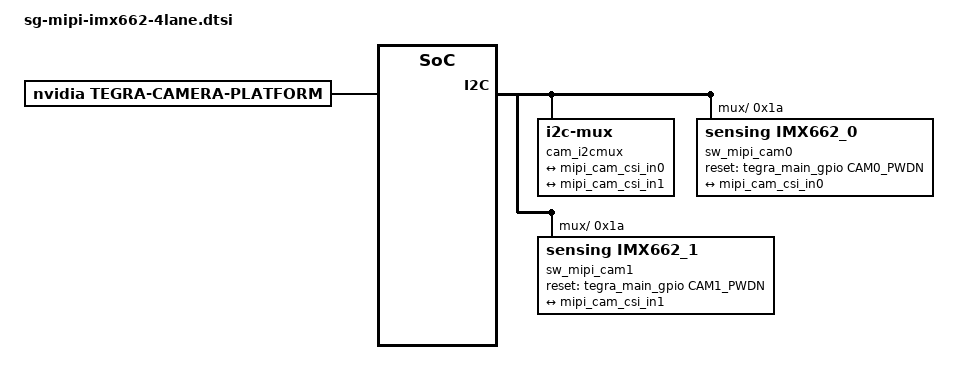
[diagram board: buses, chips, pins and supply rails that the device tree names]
/*
 * Copyright (c) 2022-2023, NVIDIA CORPORATION.  All rights reserved.
 *
 * This program is free software; you can redistribute it and/or modify
 * it under the terms of the GNU General Public License as published by
 * the Free Software Foundation; either version 2 of the License, or
 * (at your option) any later version.
 *
 * This program is distributed in the hope that it will be useful, but WITHOUT
 * ANY WARRANTY; without even the implied warranty of MERCHANTABILITY or
 * FITNESS FOR A PARTICULAR PURPOSE.  See the GNU General Public License for
 * more details.
 *
 * You should have received a copy of the GNU General Public License
 * along with this program.  If not, see <http://www.gnu.org/licenses/>.
 */
#define CAM0_PWDN	TEGRA234_MAIN_GPIO(H, 6)
#define CAM1_PWDN	TEGRA234_MAIN_GPIO(AC, 0)
#define CAM_I2C_MUX 	TEGRA234_AON_GPIO(CC, 3)

/ {
	tegra-capture-vi  {
		num-channels = <2>;
		ports {
			#address-cells = <1>;
			#size-cells = <0>;
			port@0 {
				reg = <0>;
				mipi_cam_vi_in0: endpoint {
					port-index = <0>;
					bus-width = <4>;
					remote-endpoint = <&mipi_cam_csi_out0>;
				};
			};
			port@1 {
				reg = <1>;
				mipi_cam_vi_in1: endpoint {
					port-index = <2>;
					bus-width = <4>;
					remote-endpoint = <&mipi_cam_csi_out1>;
				};
			};
		};
	};

	bus@0 {
		host1x@13e00000 {
			nvcsi@15a00000 {
				num-channels = <2>;
				#address-cells = <1>;
				#size-cells = <0>;
				channel@0 {
					reg = <0>;
					ports {
						#address-cells = <1>;
						#size-cells = <0>;
						port@0 {
							reg = <0>;
							mipi_cam_csi_in0: endpoint@0 {
								port-index = <0>;
								bus-width = <4>;
								remote-endpoint = <&mipi_cam_out0>;
							};
						};
						port@1 {
							reg = <1>;
							mipi_cam_csi_out0: endpoint@1 {
								remote-endpoint = <&mipi_cam_vi_in0>;
							};
						};
					};
				};
				channel@1 {
					reg = <1>;
					ports {
						#address-cells = <1>;
						#size-cells = <0>;
						port@0 {
							reg = <0>;
							mipi_cam_csi_in1: endpoint@2 {
								port-index = <2>;
								bus-width = <4>;
								remote-endpoint = <&mipi_cam_out1>;
							};
						};
						port@1 {
							reg = <1>;
							mipi_cam_csi_out1: endpoint@3 {
								remote-endpoint = <&mipi_cam_vi_in1>;
							};
						};
					};
				};
			};
		};

		cam_i2cmux {
			i2c@0 {
				sw_mipi_cam0: cam_0@1a {
					compatible = "sensing,imx662_0";
					/* I2C device address */
					reg = <0x1a>;

					/* V4L2 device node location */
					devnode = "video0";

					/* Physical dimensions of sensor */
					physical_w = "3.680";
					physical_h = "2.760";

					sensor_model = "imx662";				

					/* Defines number of frames to be dropped by driver internally after applying */
					/* sensor crop settings. Some sensors send corrupt frames after applying */
					/* crop co-ordinates */
					post_crop_frame_drop = "0";

					/* Convert Gain to unit of dB (decibel) befor passing to kernel driver */
					use_decibel_gain = "true";

					/* if true, delay gain setting by one frame to be in sync with exposure */
					delayed_gain = "true";

					/* enable CID_SENSOR_MODE_ID for sensor modes selection */

					use_sensor_mode_id = "true";

					reset-gpios = <&tegra_main_gpio CAM0_PWDN GPIO_ACTIVE_HIGH>;

					/**
					* ==== Modes ====
					*/
					mode0 { /*  */
						mclk_khz = "24000";
						num_lanes = "4";
						tegra_sinterface = "serial_a";
						phy_mode = "DPHY";
						discontinuous_clk = "no";
						dpcm_enable = "false";
						cil_settletime = "0";
						lane_polarity = "0";

						active_w = "1936";
						active_h = "1096";
						mode_type = "bayer";
						pixel_phase = "rggb";
						csi_pixel_bit_depth = "12";
						dynamic_pixel_bit_depth = "12";
						readout_orientation = "0";
						line_length = "1936";
						inherent_gain = "1";
						mclk_multiplier = "8.2";//600000 Khz / 25 =24000 Khz
						pix_clk_hz = "198000000";

						gain_factor = "1000";
						min_gain_val = "1"; 		/* 0 dB */
						max_gain_val = "72000"; 		/* 72 dB */
						step_gain_val = "300"; 		/* 0.3 */
						default_gain = "1";
						min_hdr_ratio = "1";
						max_hdr_ratio = "1";
						framerate_factor = "1000000";
						min_framerate = "60000000";
						max_framerate = "60000000";
						step_framerate = "1";
						default_framerate = "60000000";
						exposure_factor = "1000000";
						min_exp_time = "54"; 		/*us, VMAX - (max number of lines per frame - 1)*/
						max_exp_time = "14600";		/*us, VMAX - 4 lines*/
						step_exp_time = "1";
						default_exp_time = "14600";	/* us */
						embedded_metadata_height = "1";
					};

					ports {
						#address-cells = <1>;
						#size-cells = <0>;

						port@0 {
							reg = <0>;
							mipi_cam_out0: endpoint {
								port-index = <0>;
								bus-width = <4>;
								remote-endpoint = <&mipi_cam_csi_in0>;
							};
						};
					};
				};
			};
			i2c@1 {
				sw_mipi_cam1: cam_1@1a {
					compatible = "sensing,imx662_1";
					/* I2C device address */
					reg = <0x1a>;

					/* V4L2 device node location */
					devnode = "video1";

					/* Physical dimensions of sensor */
					physical_w = "3.680";
					physical_h = "2.760";

					sensor_model = "imx662";				

					/* Defines number of frames to be dropped by driver internally after applying */
					/* sensor crop settings. Some sensors send corrupt frames after applying */
					/* crop co-ordinates */
					post_crop_frame_drop = "0";

					/* Convert Gain to unit of dB (decibel) befor passing to kernel driver */
					use_decibel_gain = "true";

					/* if true, delay gain setting by one frame to be in sync with exposure */
					delayed_gain = "true";

					/* enable CID_SENSOR_MODE_ID for sensor modes selection */

					use_sensor_mode_id = "true";

					reset-gpios = <&tegra_main_gpio CAM1_PWDN GPIO_ACTIVE_HIGH>;

					mode0 { /* sensor_mode_1936x1100_4lane_raw12_linear_30fps */
						mclk_khz = "24000";
						num_lanes = "4";
						tegra_sinterface = "serial_c";
						phy_mode = "DPHY";
						discontinuous_clk = "no";
						dpcm_enable = "false";
						cil_settletime = "0";
						lane_polarity = "0";

						active_w = "1936";
						active_h = "1096";
						mode_type = "bayer";
						pixel_phase = "rggb";
						csi_pixel_bit_depth = "12";
						dynamic_pixel_bit_depth = "12";
						readout_orientation = "0";
						line_length = "1936";
						inherent_gain = "1";
						mclk_multiplier = "8.2";
						pix_clk_hz = "198000000";

						gain_factor = "1000";
						min_gain_val = "1"; 		/* 0 dB */
						max_gain_val = "72000"; 		/* 72 dB */
						step_gain_val = "300"; 		/* 0.3 */
						default_gain = "1";
						min_hdr_ratio = "1";
						max_hdr_ratio = "1";
						framerate_factor = "1000000";
						min_framerate = "30000000";
						max_framerate = "30000000";
						step_framerate = "1";
						default_framerate = "30000000";
						exposure_factor = "1000000";
						min_exp_time = "27"; 		/*us, VMAX - (max number of lines per frame - 1)*/
						max_exp_time = "30000";		/*us, VMAX - 4 lines*/
						step_exp_time = "1";
						default_exp_time = "30000";	/* us */
						embedded_metadata_height = "1";
					};

					mode1 { /* sensor_mode_968x550_4lane_raw12_linear_30fps */
						mclk_khz = "24000";
						num_lanes = "4";
						tegra_sinterface = "serial_c";
						phy_mode = "DPHY";
						discontinuous_clk = "no";
						dpcm_enable = "false";
						cil_settletime = "0";
						lane_polarity = "0";

						active_w = "968";
						active_h = "550";
						mode_type = "bayer";
						pixel_phase = "rggb";
						csi_pixel_bit_depth = "12";
						dynamic_pixel_bit_depth = "12";
						readout_orientation = "0";
						line_length = "968";
						inherent_gain = "1";
						mclk_multiplier = "8.2";
						pix_clk_hz = "198000000";

						gain_factor = "1000";
						min_gain_val = "1"; 		/* 0 dB */
						max_gain_val = "72000"; 		/* 72 dB */
						step_gain_val = "300"; 		/* 0.3 */
						default_gain = "1";
						min_hdr_ratio = "1";
						max_hdr_ratio = "1";
						framerate_factor = "1000000";
						min_framerate = "30000000";
						max_framerate = "30000000";
						step_framerate = "1";
						default_framerate = "30000000";
						exposure_factor = "1000000";
						min_exp_time = "27"; 		/*us, VMAX - (max number of lines per frame - 1)*/
						max_exp_time = "30000";		/*us, VMAX - 4 lines*/
						step_exp_time = "1";
						default_exp_time = "30000";	/* us */
						embedded_metadata_height = "1";
					};

					mode2 { /* sensor_mode_1920x1080_4lane_raw10_dol2_30fps */
						mclk_khz = "24000";
						num_lanes = "4";
						tegra_sinterface = "serial_c";
						phy_mode = "DPHY";
						discontinuous_clk = "yes";
						dpcm_enable = "false";
						cil_settletime = "0";
						lane_polarity = "0";

						active_w = "1952";
						active_h = "2364";
						mode_type = "bayer_wdr_dol";
						pixel_phase = "rggb";
						csi_pixel_bit_depth = "10";
						dynamic_pixel_bit_depth = "10";
						readout_orientation = "0";
						line_length = "2616";
						inherent_gain = "1";
						mclk_multiplier = "25";
						pix_clk_hz = "288000000";

						gain_factor = "1000";
						min_gain_val = "1"; 		/* 0 dB */
						max_gain_val = "72000"; 	/* dB */
						step_gain_val = "300"; 		/* 0.3 */
						default_gain = "1";
						min_hdr_ratio = "32";
						max_hdr_ratio = "32";
						framerate_factor = "1000000";
						min_framerate = "30000000";
						max_framerate = "30000000";
						step_framerate = "1";
						default_framerate = "30000000";
						exposure_factor = "1000000";
						min_exp_time = "18"; 		/*us, 2 lines */
						max_exp_time = "30000";		/*us, VMAX * 2 - 14 lines*/
						step_exp_time = "1";
						default_exp_time = "30000";/* us */
						embedded_metadata_height = "1";

						// /* WDR related settings */
						num_of_exposure = "2";
						num_of_ignored_lines = "24"; 
						num_of_lines_offset_0 = "78";
						num_of_ignored_pixels = "16";
						num_of_left_margin_pixels = "8";
						num_of_right_margin_pixels = "8";
					};

					mode3 { /* sensor_mode_1936x1100_4lane_raw12_linear_60fps */
						mclk_khz = "24000";
						num_lanes = "4";
						tegra_sinterface = "serial_c";
						phy_mode = "DPHY";
						discontinuous_clk = "no";
						dpcm_enable = "false";
						cil_settletime = "0";
						lane_polarity = "0";

						active_w = "1936";
						active_h = "1096";		//1096
						mode_type = "bayer";
						pixel_phase = "rggb";
						csi_pixel_bit_depth = "12";
						dynamic_pixel_bit_depth = "12";
						readout_orientation = "0";
						line_length = "1936";
						inherent_gain = "1";
						mclk_multiplier = "8.2";
						pix_clk_hz = "198000000";

						gain_factor = "1000";
						min_gain_val = "1"; 		/* 0 dB */
						max_gain_val = "72000"; 		/* 72 dB */
						step_gain_val = "300"; 		/* 0.3 */
						default_gain = "1";
						min_hdr_ratio = "1";
						max_hdr_ratio = "1";
						framerate_factor = "1000000";
						min_framerate = "60000000";
						max_framerate = "60000000";
						step_framerate = "1";
						default_framerate = "60000000";
						exposure_factor = "1000000";
						min_exp_time = "14"; 		/*us, VMAX - (max number of lines per frame - 1)*/
						max_exp_time = "16000";		/*us, VMAX - 4 lines*/
						step_exp_time = "1";
						default_exp_time = "16000";	/* us */
						embedded_metadata_height = "1";

						num_of_left_margin_pixels = "8";
						num_of_right_margin_pixels = "8";
					};

					mode4 { /* sensor_mode_968x550_4lane_raw12_linear_60fps */
						mclk_khz = "24000";
						num_lanes = "4";
						tegra_sinterface = "serial_c";
						phy_mode = "DPHY";
						discontinuous_clk = "no";
						dpcm_enable = "false";
						cil_settletime = "0";
						lane_polarity = "0";

						active_w = "968";
						active_h = "550";
						mode_type = "bayer";
						pixel_phase = "rggb";
						csi_pixel_bit_depth = "12";
						dynamic_pixel_bit_depth = "12";
						readout_orientation = "0";
						line_length = "968";
						inherent_gain = "1";
						mclk_multiplier = "8.2";
						pix_clk_hz = "198000000";

						gain_factor = "1000";
						min_gain_val = "1"; 		/* 0 dB */
						max_gain_val = "72000"; 		/* 72 dB */
						step_gain_val = "300"; 		/* 0.3 */
						default_gain = "1";
						min_hdr_ratio = "1";
						max_hdr_ratio = "1";
						framerate_factor = "1000000";
						min_framerate = "60000000";
						max_framerate = "60000000";
						step_framerate = "1";
						default_framerate = "60000000";
						exposure_factor = "1000000";
						min_exp_time = "14"; 		/*us, VMAX - (max number of lines per frame - 1)*/
						max_exp_time = "16000";		/*us, VMAX - 4 lines*/
						step_exp_time = "1";
						default_exp_time = "16000";	/* us */
						embedded_metadata_height = "1";
					};

					ports {
						#address-cells = <1>;
						#size-cells = <0>;

						port@0 {
							reg = <0>;
							mipi_cam_out1: endpoint {
								port-index = <2>;
								bus-width = <4>;
								remote-endpoint = <&mipi_cam_csi_in1>;
							};
						};
					};
				};
			};
		};
	};
};

/ {
	tegra-camera-platform {
		compatible = "nvidia, tegra-camera-platform";

		/**
		* Physical settings to calculate max ISO BW
		*
		* num_csi_lanes = <>;
		* Total number of CSI lanes when all cameras are active
		*
		* max_lane_speed = <>;
		* Max lane speed in Kbit/s
		*
		* min_bits_per_pixel = <>;
		* Min bits per pixel
		*
		* vi_peak_byte_per_pixel = <>;
		* Max byte per pixel for the VI ISO case
		*
		* vi_bw_margin_pct = <>;
		* Vi bandwidth margin in percentage
		*
		* max_pixel_rate = <>;
		* Max pixel rate in Kpixel/s for the ISP ISO case
		*
		* isp_peak_byte_per_pixel = <>;
		* Max byte per pixel for the ISP ISO case
		*
		* isp_bw_margin_pct = <>;
		* Isp bandwidth margin in percentage
		*/
		num_csi_lanes = <8>;
		max_lane_speed = <2500000>;
		min_bits_per_pixel = <10>;
		vi_peak_byte_per_pixel = <2>;
		vi_bw_margin_pct = <25>;
		max_pixel_rate = <7500000>;
		isp_peak_byte_per_pixel = <5>;
		isp_bw_margin_pct = <25>;

		/**
		 * The general guideline for naming badge_info contains 3 parts, and is as follows,
		 * The first part is the camera_board_id for the module; if the module is in a FFD
		 * platform, then use the platform name for this part.
		 * The second part contains the position of the module, ex. "rear" or "front".
		 * The third part contains the last 6 characters of a part number which is found
		 * in the module's specsheet from the vendor.
		 */
		modules {
			module0 {
				badge = "imx662_front";
				position = "front";
				orientation = "1";
				drivernode0 {
					pcl_id = "v4l2_sensor";
					devname = "imx662 9-001a";
					// proc-device-tree = "/proc/device-tree/bus@0/cam_i2cmux/i2c@0/cam_0@1a";
					sysfs-device-tree = "/sys/firmware/devicetree/base/bus@0/cam_i2cmux/i2c@0/cam_0@1a";
				};
			};
			module1 {
				badge = "imx662_rear";
				position = "rear";
				orientation = "1";
				drivernode0 {
					pcl_id = "v4l2_sensor";
					devname = "imx662 10-001a";
					// proc-device-tree = "/proc/device-tree/bus@0/cam_i2cmux/i2c@1/cam_1@1a";
					sysfs-device-tree = "/sys/firmware/devicetree/base/bus@0/cam_i2cmux/i2c@1/cam_1@1a";
				};
			};
		};
	};
};
